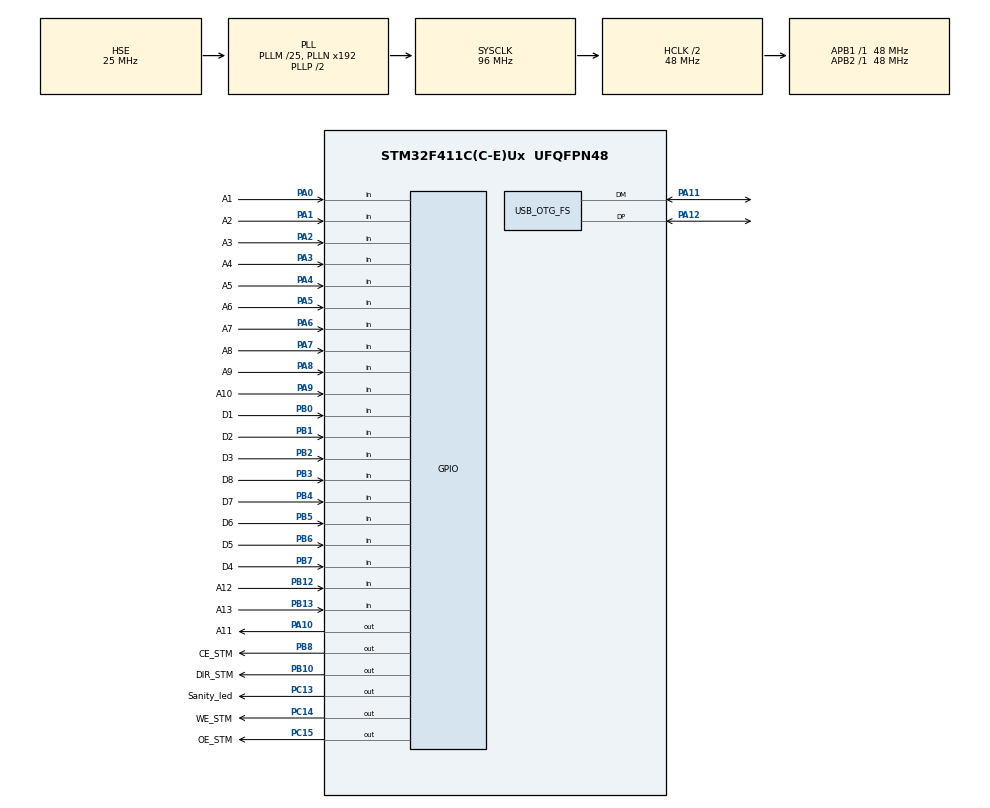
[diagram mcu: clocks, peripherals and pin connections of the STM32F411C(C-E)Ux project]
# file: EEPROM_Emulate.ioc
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Mcu.Family=STM32F4
Mcu.Name=STM32F411C(C-E)Ux
Mcu.Package=UFQFPN48
NVIC.OTG_FS_IRQn=true\:0\:0\:false\:false\:true\:false\:true\:true
NVIC.PriorityGroup=NVIC_PRIORITYGROUP_4
NVIC.TIM1_UP_TIM10_IRQn=true\:15\:0\:false\:false\:true\:false\:true\:true
NVIC.TimeBase=TIM1_UP_TIM10_IRQn
NVIC.TimeBaseIP=TIM1
PA0-WKUP.GPIO_Label=A1
PA0-WKUP.Signal=GPIO_Input
PA1.GPIO_Label=A2
PA1.Signal=GPIO_Input
PA10.GPIO_Label=A11
PA10.Signal=GPIO_Output
PA11.Mode=Device_Only
PA11.Signal=USB_OTG_FS_DM
PA12.Mode=Device_Only
PA12.Signal=USB_OTG_FS_DP
PA2.GPIO_Label=A3
PA2.Signal=GPIO_Input
PA3.GPIO_Label=A4
PA3.Signal=GPIO_Input
PA4.GPIO_Label=A5
PA4.Signal=GPIO_Input
PA5.GPIO_Label=A6
PA5.Signal=GPIO_Input
PA6.GPIO_Label=A7
PA6.Signal=GPIO_Input
PA7.GPIO_Label=A8
PA7.Signal=GPIO_Input
PA8.GPIO_Label=A9
PA8.Signal=GPIO_Input
PA9.GPIO_Label=A10
PA9.Signal=GPIO_Input
PB0.GPIO_Label=D1
PB0.Signal=GPIO_Input
PB1.GPIO_Label=D2
PB1.Signal=GPIO_Input
PB10.GPIO_Label=DIR_STM
PB10.Signal=GPIO_Output
PB12.GPIO_Label=A12
PB12.Signal=GPIO_Input
PB13.GPIO_Label=A13
PB13.Signal=GPIO_Input
PB2.GPIO_Label=D3
PB2.Signal=GPIO_Input
PB3.GPIO_Label=D8
PB3.Signal=GPIO_Input
PB4.GPIO_Label=D7
PB4.Signal=GPIO_Input
PB5.GPIO_Label=D6
PB5.Signal=GPIO_Input
PB6.GPIO_Label=D5
PB6.Signal=GPIO_Input
PB7.GPIO_Label=D4
PB7.Signal=GPIO_Input
PB8.GPIO_Label=CE_STM
PB8.Signal=GPIO_Output
PC13-ANTI_TAMP.GPIO_Label=Sanity_led
PC13-ANTI_TAMP.Signal=GPIO_Output
PC14-OSC32_IN.GPIO_Label=WE_STM
PC14-OSC32_IN.Signal=GPIO_Output
PC15-OSC32_OUT.GPIO_Label=OE_STM
PC15-OSC32_OUT.Signal=GPIO_Output
PH0\ -\ OSC_IN.Mode=HSE-External-Oscillator
PH0\ -\ OSC_IN.Signal=RCC_OSC_IN
PH1\ -\ OSC_OUT.Mode=HSE-External-Oscillator
PH1\ -\ OSC_OUT.Signal=RCC_OSC_OUT
ProjectManager.HeapSize=0x200
ProjectManager.StackSize=0x400
ProjectManager.TargetToolchain=STM32CubeIDE
RCC.48MHZClocksFreq_Value=48000000
RCC.AHBCLKDivider=RCC_SYSCLK_DIV2
RCC.AHBFreq_Value=48000000
RCC.APB1Freq_Value=48000000
RCC.APB1TimFreq_Value=48000000
RCC.APB2Freq_Value=48000000
RCC.APB2TimFreq_Value=48000000
RCC.CortexFreq_Value=48000000
RCC.HCLKFreq_Value=48000000
RCC.HSE_VALUE=25000000
RCC.HSI_VALUE=16000000
RCC.LSE_VALUE=32768
RCC.PLLM=25
RCC.SYSCLKFreq_VALUE=96000000
RCC.SYSCLKSource=RCC_SYSCLKSOURCE_PLLCLK
RCC.VCOOutputFreq_Value=192000000
USB_DEVICE.CLASS_NAME_FS=CDC
USB_DEVICE.MANUFACTURER_STRING=ECF
USB_DEVICE.PID_CDC_FS=0x5740
USB_DEVICE.PRODUCT_STRING_CDC_FS=ECF_PRG
USB_DEVICE.VID=0x483
USB_DEVICE.VirtualMode=Cdc
USB_DEVICE.VirtualModeFS=Cdc_FS
USB_OTG_FS.VirtualMode=Device_Only
VP_SYS_VS_tim1.Mode=TIM1
VP_USB_DEVICE_VS_USB_DEVICE_CDC_FS.Mode=CDC_FS
board=custom

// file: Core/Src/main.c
/* USER CODE BEGIN Header */
/**
  ******************************************************************************
  * @file           : main.c
  * @brief          : Main program body
  ******************************************************************************
  * @attention
  *
  * Copyright (c) 2025 STMicroelectronics.
  * All rights reserved.
  *
  * This software is licensed under terms that can be found in the LICENSE file
  * in the root directory of this software component.
  * If no LICENSE file comes with this software, it is provided AS-IS.
  *
  ******************************************************************************
  */
/* USER CODE END Header */
#include "main.h"
#include "usb_device.h"

/* USER CODE BEGIN Includes */
#include "rom_data.h"
#include <string.h>
#include <stdio.h>
#include <stdlib.h>
#include "usbd_cdc_if.h"
/* USER CODE END Includes */

/* USER CODE BEGIN PV */

extern volatile uint8_t EmulateMode;

/* USER CODE END PV */

void SystemClock_Config(void);
static void MX_GPIO_Init(void);
/* USER CODE BEGIN PFP */
void UART_ProcessReceivedData(void);
void UART_TransmitMessage(const char *message);
/* USER CODE END PFP */

/* USER CODE BEGIN 0 */

// ============================================================================
// ADDRESS BUS READING
// ============================================================================

uint16_t GetAddressBusValue(void)
{
    uint16_t addr = 0;

    // Read GPIO ports
    uint32_t portA = GPIOA->IDR;
    uint32_t portB = GPIOB->IDR;

    // A1-A11 all on GPIOA
    addr |= ((portA & A1_Pin)  ? (1 << 0)  : 0);
    addr |= ((portA & A2_Pin)  ? (1 << 1)  : 0);
    addr |= ((portA & A3_Pin)  ? (1 << 2)  : 0);
    addr |= ((portA & A4_Pin)  ? (1 << 3)  : 0);
    addr |= ((portA & A5_Pin)  ? (1 << 4)  : 0);
    addr |= ((portA & A6_Pin)  ? (1 << 5)  : 0);
    addr |= ((portA & A7_Pin)  ? (1 << 6)  : 0);
    addr |= ((portA & A8_Pin)  ? (1 << 7)  : 0);
    addr |= ((portA & A9_Pin)  ? (1 << 8)  : 0);
    addr |= ((portA & A10_Pin) ? (1 << 9)  : 0);
    addr |= ((portA & A11_Pin) ? (1 << 10) : 0);

    // A12-A13 on GPIOB
    addr |= ((portB & A12_Pin) ? (1 << 11) : 0);
    addr |= ((portB & A13_Pin) ? (1 << 12) : 0);

    return addr;
}

// ============================================================================
// DATA BUS WRITING
// ============================================================================

static void SetDataBusValue(uint8_t data)
{
    // Your pin mapping:
    // PB0 -> D1 (bit 0)
    // PB1 -> D2 (bit 1)
    // PB2 -> D3 (bit 2)
    // PB3 -> D8 (bit 7)
    // PB4 -> D7 (bit 6)
    // PB5 -> D6 (bit 5)
    // PB6 -> D5 (bit 4)
    // PB7 -> D4 (bit 3)

    uint32_t output = GPIOB->ODR;

    // Clear data pins while preserving A12, A13
    output &= ~(D1_Pin | D2_Pin | D3_Pin | D4_Pin | D5_Pin | D6_Pin | D7_Pin | D8_Pin);

    // Map each data bit to its corresponding pin
    if (data & (1 << 0)) output |= D1_Pin;  // D1
    if (data & (1 << 1)) output |= D2_Pin;  // D2
    if (data & (1 << 2)) output |= D3_Pin;  // D3
    if (data & (1 << 3)) output |= D4_Pin;  // D4
    if (data & (1 << 4)) output |= D5_Pin;  // D5
    if (data & (1 << 5)) output |= D6_Pin;  // D6
    if (data & (1 << 6)) output |= D7_Pin;  // D7
    if (data & (1 << 7)) output |= D8_Pin;  // D8

    GPIOB->ODR = output;
}

/* USER CODE END 0 */

int main(void)
{

  /* MCU Configuration--------------------------------------------------------*/

  /* Reset of all peripherals, Initializes the Flash interface and the Systick. */
  HAL_Init();

  /* Configure the system clock */
  SystemClock_Config();

  /* Initialize all configured peripherals */
  MX_GPIO_Init();
  MX_USB_DEVICE_Init();
  /* USER CODE BEGIN 2 */

  HAL_GPIO_WritePin(DIR_STM_GPIO_Port, DIR_STM_Pin, GPIO_PIN_RESET); //From Eeprom to Datalines
  HAL_GPIO_WritePin(CE_STM_GPIO_Port, CE_STM_Pin, GPIO_PIN_RESET); //Enable Eeprom
  HAL_GPIO_WritePin(OE_STM_GPIO_Port, OE_STM_Pin, GPIO_PIN_RESET); //Enable Output
  HAL_GPIO_WritePin(WE_STM_GPIO_Port, WE_STM_Pin, GPIO_PIN_SET); //Disable Writing

  /* USER CODE END 2 */

  /* Infinite loop */
  while (1)
  {

    /* USER CODE BEGIN 3 */
	  if (currentState == STATE_EMULATOR)
	      {
	          // Get current 13-bit address
	          uint16_t address = GetAddressBusValue();

	          // Bounds check for safety
	          if (address < ROM_DATA_SIZE)
	          {
	              uint8_t data = rom_data[address];
	              SetDataBusValue(data);
	          }
	          else
	          {
	              // Output 0xFF for out-of-bounds addresses (typical for unprogrammed ROM)
	              SetDataBusValue(0xFF);
	          }
	      }

  }
  /* USER CODE END 3 */
}

void SystemClock_Config(void)
{
  RCC_OscInitTypeDef RCC_OscInitStruct = {0};
  RCC_ClkInitTypeDef RCC_ClkInitStruct = {0};

  /** Configure the main internal regulator output voltage
  */
  __HAL_RCC_PWR_CLK_ENABLE();
  __HAL_PWR_VOLTAGESCALING_CONFIG(PWR_REGULATOR_VOLTAGE_SCALE1);

  /** Initializes the RCC Oscillators according to the specified parameters
  * in the RCC_OscInitTypeDef structure.
  */
  RCC_OscInitStruct.OscillatorType = RCC_OSCILLATORTYPE_HSE;
  RCC_OscInitStruct.HSEState = RCC_HSE_ON;
  RCC_OscInitStruct.PLL.PLLState = RCC_PLL_ON;
  RCC_OscInitStruct.PLL.PLLSource = RCC_PLLSOURCE_HSE;
  RCC_OscInitStruct.PLL.PLLM = 25;
  RCC_OscInitStruct.PLL.PLLN = 192;
  RCC_OscInitStruct.PLL.PLLP = RCC_PLLP_DIV2;
  RCC_OscInitStruct.PLL.PLLQ = 4;
  if (HAL_RCC_OscConfig(&RCC_OscInitStruct) != HAL_OK)
  {
    Error_Handler();
  }

  /** Initializes the CPU, AHB and APB buses clocks
  */
  RCC_ClkInitStruct.ClockType = RCC_CLOCKTYPE_HCLK|RCC_CLOCKTYPE_SYSCLK
                              |RCC_CLOCKTYPE_PCLK1|RCC_CLOCKTYPE_PCLK2;
  RCC_ClkInitStruct.SYSCLKSource = RCC_SYSCLKSOURCE_PLLCLK;
  RCC_ClkInitStruct.AHBCLKDivider = RCC_SYSCLK_DIV2;
  RCC_ClkInitStruct.APB1CLKDivider = RCC_HCLK_DIV1;
  RCC_ClkInitStruct.APB2CLKDivider = RCC_HCLK_DIV1;

  if (HAL_RCC_ClockConfig(&RCC_ClkInitStruct, FLASH_LATENCY_1) != HAL_OK)
  {
    Error_Handler();
  }
}

static void MX_GPIO_Init(void)
{
  GPIO_InitTypeDef GPIO_InitStruct = {0};

  /* GPIO Ports Clock Enable */
  __HAL_RCC_GPIOC_CLK_ENABLE();
  __HAL_RCC_GPIOH_CLK_ENABLE();
  __HAL_RCC_GPIOA_CLK_ENABLE();
  __HAL_RCC_GPIOB_CLK_ENABLE();

  /*Configure GPIO pin Output Level */
  HAL_GPIO_WritePin(GPIOC, Sanity_led_Pin|WE_STM_Pin|OE_STM_Pin, GPIO_PIN_RESET);

  /*Configure GPIO pin Output Level */
  HAL_GPIO_WritePin(GPIOB, DIR_STM_Pin|CE_STM_Pin, GPIO_PIN_RESET);

  /*Configure GPIO pin Output Level */
  HAL_GPIO_WritePin(A11_GPIO_Port, A11_Pin, GPIO_PIN_RESET);

  /*Configure GPIO pins : Sanity_led_Pin WE_STM_Pin OE_STM_Pin */
  GPIO_InitStruct.Pin = Sanity_led_Pin|WE_STM_Pin|OE_STM_Pin;
  GPIO_InitStruct.Mode = GPIO_MODE_OUTPUT_PP;
  GPIO_InitStruct.Pull = GPIO_NOPULL;
  GPIO_InitStruct.Speed = GPIO_SPEED_FREQ_LOW;
  HAL_GPIO_Init(GPIOC, &GPIO_InitStruct);

  /*Configure GPIO pins : A1_Pin A2_Pin A3_Pin A4_Pin
                           A5_Pin A6_Pin A7_Pin A8_Pin
                           A9_Pin A10_Pin */
  GPIO_InitStruct.Pin = A1_Pin|A2_Pin|A3_Pin|A4_Pin
                          |A5_Pin|A6_Pin|A7_Pin|A8_Pin
                          |A9_Pin|A10_Pin;
  GPIO_InitStruct.Mode = GPIO_MODE_INPUT;
  GPIO_InitStruct.Pull = GPIO_NOPULL;
  HAL_GPIO_Init(GPIOA, &GPIO_InitStruct);

  /*Configure GPIO pins : D1_Pin D2_Pin D3_Pin A12_Pin
                           A13_Pin D8_Pin D7_Pin D6_Pin
                           D5_Pin D4_Pin */
  GPIO_InitStruct.Pin = D1_Pin|D2_Pin|D3_Pin|A12_Pin
                          |A13_Pin|D8_Pin|D7_Pin|D6_Pin
                          |D5_Pin|D4_Pin;
  GPIO_InitStruct.Mode = GPIO_MODE_INPUT;
  GPIO_InitStruct.Pull = GPIO_NOPULL;
  HAL_GPIO_Init(GPIOB, &GPIO_InitStruct);

  /*Configure GPIO pins : DIR_STM_Pin CE_STM_Pin */
  GPIO_InitStruct.Pin = DIR_STM_Pin|CE_STM_Pin;
  GPIO_InitStruct.Mode = GPIO_MODE_OUTPUT_PP;
  GPIO_InitStruct.Pull = GPIO_NOPULL;
  GPIO_InitStruct.Speed = GPIO_SPEED_FREQ_LOW;
  HAL_GPIO_Init(GPIOB, &GPIO_InitStruct);

  /*Configure GPIO pin : A11_Pin */
  GPIO_InitStruct.Pin = A11_Pin;
  GPIO_InitStruct.Mode = GPIO_MODE_OUTPUT_PP;
  GPIO_InitStruct.Pull = GPIO_NOPULL;
  GPIO_InitStruct.Speed = GPIO_SPEED_FREQ_LOW;
  HAL_GPIO_Init(A11_GPIO_Port, &GPIO_InitStruct);

}

void HAL_TIM_PeriodElapsedCallback(TIM_HandleTypeDef *htim)
{
  if (htim->Instance == TIM1)
  {
    HAL_IncTick();
  }
}

void Error_Handler(void)
{
  __disable_irq();
  while (1)
  {
  }
}
